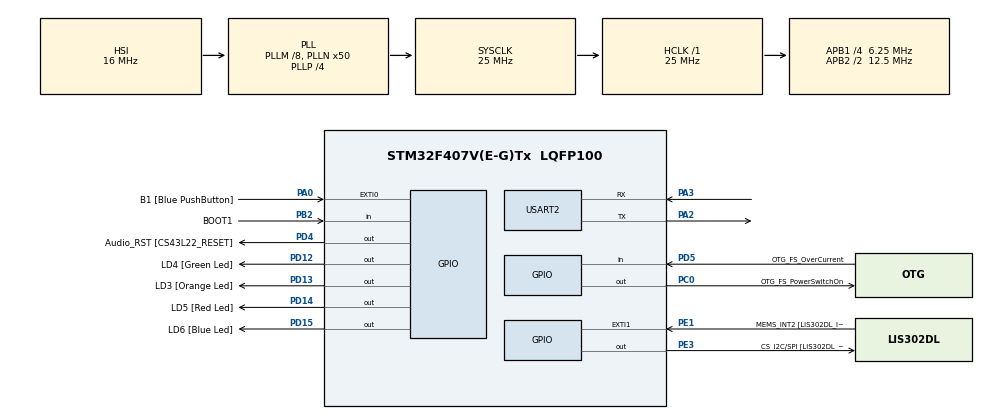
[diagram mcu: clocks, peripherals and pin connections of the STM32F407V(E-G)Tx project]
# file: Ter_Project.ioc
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Mcu.Family=STM32F4
Mcu.Name=STM32F407V(E-G)Tx
Mcu.Package=LQFP100
NVIC.PriorityGroup=NVIC_PRIORITYGROUP_0
PA0-WKUP.GPIO_Label=B1 [Blue PushButton]
PA0-WKUP.Signal=GPXTI0
PA10.GPIO_Label=OTG_FS_ID
PA10.GPIO_Mode=GPIO_MODE_AF_PP
PA10.GPIO_PuPd=GPIO_NOPULL
PA10.GPIO_Speed=GPIO_SPEED_FREQ_LOW
PA10.Signal=USB_OTG_FS_ID
PA11.GPIO_Label=OTG_FS_DM
PA11.GPIO_Mode=GPIO_MODE_AF_PP
PA11.GPIO_PuPd=GPIO_NOPULL
PA11.GPIO_Speed=GPIO_SPEED_FREQ_LOW
PA11.Signal=USB_OTG_FS_DM
PA12.GPIO_Label=OTG_FS_DP
PA12.GPIO_Mode=GPIO_MODE_AF_PP
PA12.GPIO_PuPd=GPIO_NOPULL
PA12.GPIO_Speed=GPIO_SPEED_FREQ_LOW
PA12.Signal=USB_OTG_FS_DP
PA13.GPIO_Label=SWDIO
PA13.Signal=SYS_JTMS-SWDIO
PA14.GPIO_Label=SWCLK
PA14.Signal=SYS_JTCK-SWCLK
PA2.Mode=Asynchronous
PA2.Signal=USART2_TX
PA3.Mode=Asynchronous
PA3.Signal=USART2_RX
PA4.GPIO_Label=I2S3_WS [CS43L22_LRCK]
PA4.GPIO_Mode=GPIO_MODE_AF_PP
PA4.GPIO_PuPd=GPIO_NOPULL
PA4.GPIO_Speed=GPIO_SPEED_FREQ_LOW
PA4.Signal=I2S3_WS
PA5.GPIO_Label=SPI1_SCK [LIS302DL_SCL/SPC]
PA5.GPIO_Mode=GPIO_MODE_AF_PP
PA5.GPIO_PuPd=GPIO_NOPULL
PA5.GPIO_Speed=GPIO_SPEED_FREQ_LOW
PA5.Signal=SPI1_SCK
PA6.GPIO_Label=SPI1_MISO [LIS302DL_SDO]
PA6.GPIO_Mode=GPIO_MODE_AF_PP
PA6.GPIO_PuPd=GPIO_NOPULL
PA6.GPIO_Speed=GPIO_SPEED_FREQ_LOW
PA6.Signal=SPI1_MISO
PA7.GPIO_Label=SPI1_MOSI [LIS302DL_SDA/SDI/SDO]
PA7.GPIO_Mode=GPIO_MODE_AF_PP
PA7.GPIO_PuPd=GPIO_NOPULL
PA7.GPIO_Speed=GPIO_SPEED_FREQ_LOW
PA7.Signal=SPI1_MOSI
PA9.GPIO_Label=VBUS_FS
PA9.GPIO_Mode=GPIO_MODE_INPUT
PA9.GPIO_PuPd=GPIO_NOPULL
PA9.Signal=USB_OTG_FS_VBUS
PB10.GPIO_Label=CLK_IN [MP45DT02_CLK]
PB10.GPIO_Mode=GPIO_MODE_AF_PP
PB10.GPIO_PuPd=GPIO_NOPULL
PB10.GPIO_Speed=GPIO_SPEED_FREQ_LOW
PB10.Signal=I2S2_CK
PB2.GPIO_Label=BOOT1
PB2.GPIO_Mode=GPIO_MODE_INPUT
PB2.GPIO_PuPd=GPIO_NOPULL
PB2.Signal=GPIO_Input
PB3.GPIO_Label=SWO
PB3.Signal=SYS_JTDO-SWO
PB6.GPIO_Label=Audio_SCL [CS43L22_SCL]
PB6.GPIO_Mode=GPIO_MODE_AF_OD
PB6.GPIO_PuPd=GPIO_NOPULL
PB6.GPIO_Speed=GPIO_SPEED_FREQ_LOW
PB6.Signal=I2C1_SCL
PB9.GPIO_Label=Audio_SDA [CS43L22_SDA]
PB9.GPIO_Mode=GPIO_MODE_AF_OD
PB9.GPIO_PuPd=GPIO_NOPULL
PB9.GPIO_Speed=GPIO_SPEED_FREQ_LOW
PB9.Signal=I2C1_SDA
PC0.GPIO_Label=OTG_FS_PowerSwitchOn
PC0.GPIO_PuPd=GPIO_NOPULL
PC0.GPIO_Speed=GPIO_SPEED_FREQ_LOW
PC0.PinState=GPIO_PIN_SET
PC0.Signal=GPIO_Output
PC10.GPIO_Label=I2S3_SCK [CS43L22_SCLK]
PC10.GPIO_Mode=GPIO_MODE_AF_PP
PC10.GPIO_PuPd=GPIO_NOPULL
PC10.GPIO_Speed=GPIO_SPEED_FREQ_LOW
PC10.Signal=I2S3_CK
PC12.GPIO_Label=I2S3_SD [CS43L22_SDIN]
PC12.GPIO_Mode=GPIO_MODE_AF_PP
PC12.GPIO_PuPd=GPIO_NOPULL
PC12.GPIO_Speed=GPIO_SPEED_FREQ_LOW
PC12.Signal=I2S3_SD
PC14-OSC32_IN.GPIO_Label=PC14-OSC32_IN
PC14-OSC32_IN.Signal=RCC_OSC32_IN
PC15-OSC32_OUT.GPIO_Label=PC15-OSC32_OUT
PC15-OSC32_OUT.Signal=RCC_OSC32_OUT
PC3.GPIO_Label=PDM_OUT [MP45DT02_DOUT]
PC3.GPIO_Mode=GPIO_MODE_AF_PP
PC3.GPIO_PuPd=GPIO_NOPULL
PC3.GPIO_Speed=GPIO_SPEED_FREQ_LOW
PC3.Signal=I2S2_SD
PC7.GPIO_Label=I2S3_MCK [CS43L22_MCLK]
PC7.GPIO_Mode=GPIO_MODE_AF_PP
PC7.GPIO_PuPd=GPIO_NOPULL
PC7.GPIO_Speed=GPIO_SPEED_FREQ_LOW
PC7.Signal=I2S3_MCK
PD12.GPIO_Label=LD4 [Green Led]
PD12.GPIO_PuPd=GPIO_NOPULL
PD12.GPIO_Speed=GPIO_SPEED_FREQ_LOW
PD12.Signal=GPIO_Output
PD13.GPIO_Label=LD3 [Orange Led]
PD13.GPIO_PuPd=GPIO_NOPULL
PD13.GPIO_Speed=GPIO_SPEED_FREQ_LOW
PD13.Signal=GPIO_Output
PD14.GPIO_Label=LD5 [Red Led]
PD14.GPIO_PuPd=GPIO_NOPULL
PD14.GPIO_Speed=GPIO_SPEED_FREQ_LOW
PD14.Signal=GPIO_Output
PD15.GPIO_Label=LD6 [Blue Led]
PD15.GPIO_PuPd=GPIO_NOPULL
PD15.GPIO_Speed=GPIO_SPEED_FREQ_LOW
PD15.Signal=GPIO_Output
PD4.GPIO_Label=Audio_RST [CS43L22_RESET]
PD4.GPIO_PuPd=GPIO_NOPULL
PD4.GPIO_Speed=GPIO_SPEED_FREQ_LOW
PD4.Signal=GPIO_Output
PD5.GPIO_Label=OTG_FS_OverCurrent
PD5.GPIO_Mode=GPIO_MODE_INPUT
PD5.GPIO_PuPd=GPIO_NOPULL
PD5.Signal=GPIO_Input
PE1.GPIO_Label=MEMS_INT2 [LIS302DL_INT2]
PE1.GPIO_ModeDefaultEXTI=GPIO_MODE_EVT_RISING
PE1.GPIO_PuPd=GPIO_NOPULL
PE1.Signal=GPXTI1
PE3.GPIO_Label=CS_I2C/SPI [LIS302DL_CS_I2C/SPI]
PE3.GPIO_PuPd=GPIO_NOPULL
PE3.GPIO_Speed=GPIO_SPEED_FREQ_LOW
PE3.Signal=GPIO_Output
PH0-OSC_IN.GPIO_Label=PH0-OSC_IN
PH0-OSC_IN.Signal=RCC_OSC_IN
PH1-OSC_OUT.GPIO_Label=PH1-OSC_OUT
PH1-OSC_OUT.Signal=RCC_OSC_OUT
ProjectManager.HeapSize=0x200
ProjectManager.StackSize=0x400
ProjectManager.TargetToolchain=SW4STM32
RCC.48MHZClocksFreq_Value=14285714.285714285
RCC.AHBFreq_Value=25000000
RCC.APB1CLKDivider=RCC_HCLK_DIV4
RCC.APB1Freq_Value=6250000
RCC.APB1TimFreq_Value=12500000
RCC.APB2CLKDivider=RCC_HCLK_DIV2
RCC.APB2Freq_Value=12500000
RCC.APB2TimFreq_Value=25000000
RCC.CortexFreq_Value=25000000
RCC.HCLKFreq_Value=25000000
RCC.HSE_VALUE=8000000
RCC.HSI_VALUE=16000000
RCC.LSE_VALUE=32768
RCC.PLLM=8
RCC.PLLN=50
RCC.PLLP=RCC_PLLP_DIV4
RCC.PLLQ=7
RCC.SYSCLKFreq_VALUE=25000000
RCC.SYSCLKSource=RCC_SYSCLKSOURCE_PLLCLK
RCC.VCOOutputFreq_Value=100000000
USART2.VirtualMode=VM_ASYNC
board=STM32F4DISCOVERY

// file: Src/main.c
/**
  ******************************************************************************
  * File Name          : main.c
  * Description        : Main program body
  ******************************************************************************
  ** This notice applies to any and all portions of this file
  * that are not between comment pairs USER CODE BEGIN and
  * USER CODE END. Other portions of this file, whether
  * inserted by the user or by software development tools
  * are owned by their respective copyright owners.
  *
  * COPYRIGHT(c) 2017 STMicroelectronics
  *
  * Redistribution and use in source and binary forms, with or without modification,
  * are permitted provided that the following conditions are met:
  *   1. Redistributions of source code must retain the above copyright notice,
  *      this list of conditions and the following disclaimer.
  *   2. Redistributions in binary form must reproduce the above copyright notice,
  *      this list of conditions and the following disclaimer in the documentation
  *      and/or other materials provided with the distribution.
  *   3. Neither the name of STMicroelectronics nor the names of its contributors
  *      may be used to endorse or promote products derived from this software
  *      without specific prior written permission.
  *
  * THIS SOFTWARE IS PROVIDED BY THE COPYRIGHT HOLDERS AND CONTRIBUTORS "AS IS"
  * AND ANY EXPRESS OR IMPLIED WARRANTIES, INCLUDING, BUT NOT LIMITED TO, THE
  * IMPLIED WARRANTIES OF MERCHANTABILITY AND FITNESS FOR A PARTICULAR PURPOSE ARE
  * DISCLAIMED. IN NO EVENT SHALL THE COPYRIGHT HOLDER OR CONTRIBUTORS BE LIABLE
  * FOR ANY DIRECT, INDIRECT, INCIDENTAL, SPECIAL, EXEMPLARY, OR CONSEQUENTIAL
  * DAMAGES (INCLUDING, BUT NOT LIMITED TO, PROCUREMENT OF SUBSTITUTE GOODS OR
  * SERVICES; LOSS OF USE, DATA, OR PROFITS; OR BUSINESS INTERRUPTION) HOWEVER
  * CAUSED AND ON ANY THEORY OF LIABILITY, WHETHER IN CONTRACT, STRICT LIABILITY,
  * OR TORT (INCLUDING NEGLIGENCE OR OTHERWISE) ARISING IN ANY WAY OUT OF THE USE
  * OF THIS SOFTWARE, EVEN IF ADVISED OF THE POSSIBILITY OF SUCH DAMAGE.
  *
  ******************************************************************************
  */

#include "main.h"
#include "stm32f4xx_hal.h"

UART_HandleTypeDef huart2;

/* USER CODE BEGIN PV */
/* Private variables ---------------------------------------------------------*/

/* USER CODE END PV */

void SystemClock_Config(void);
static void MX_GPIO_Init(void);
static void MX_USART2_UART_Init(void);

/* USER CODE BEGIN PFP */
/* Private function prototypes -----------------------------------------------*/

/* USER CODE END PFP */

/* USER CODE BEGIN 0 */

typedef struct _hx711
{
	GPIO_TypeDef* gpioSck;
	GPIO_TypeDef* gpioData;
	uint16_t pinSck;
	uint16_t pinData;
	int offset;
	int gain;
	// 1: channel A, gain factor 128
	// 2: channel B, gain factor 32
    // 3: channel A, gain factor 64
} HX711;

void HX711_Init(HX711 data)
{
	GPIO_InitTypeDef GPIO_InitStruct;
	GPIO_InitStruct.Pin = data.pinSck;
	GPIO_InitStruct.Mode = GPIO_MODE_OUTPUT_PP;
	GPIO_InitStruct.Pull = GPIO_NOPULL;
	GPIO_InitStruct.Speed = GPIO_SPEED_FREQ_LOW;
	HAL_GPIO_Init(data.gpioSck, &GPIO_InitStruct);

	GPIO_InitStruct.Pin = data.pinData;
	GPIO_InitStruct.Mode = GPIO_MODE_INPUT;
	GPIO_InitStruct.Pull = GPIO_PULLUP;
	GPIO_InitStruct.Speed = GPIO_SPEED_FREQ_LOW;
	HAL_GPIO_Init(data.gpioData, &GPIO_InitStruct);

	HAL_GPIO_WritePin(data.gpioSck, data.pinSck, GPIO_PIN_SET);
	HAL_Delay(50);
	HAL_GPIO_WritePin(data.gpioData, data.pinSck, GPIO_PIN_RESET);

}

int HX711_Average_Value(HX711 data, uint8_t times)
{
    int sum = 0;
    for (int i = 0; i < times; i++)
    {
        sum += HX711_Value(data);
    }

    return sum / times;
}

int HX711_Value(HX711 data)
{
    int buffer;
    buffer = 0;

    while (HAL_GPIO_ReadPin(data.gpioData, data.pinData)==1)
    ;

    for (uint8_t i = 0; i < 24; i++)
    {
    	HAL_GPIO_WritePin(data.gpioSck, data.pinSck, GPIO_PIN_SET);

        buffer = buffer << 1 ;

        if (HAL_GPIO_ReadPin(data.gpioData, data.pinData))
        {
            buffer ++;
        }

        HAL_GPIO_WritePin(data.gpioSck, data.pinSck, GPIO_PIN_RESET);
    }

    for (int i = 0; i < data.gain; i++)
    {
    	HAL_GPIO_WritePin(data.gpioSck, data.pinSck, GPIO_PIN_SET);
    	HAL_GPIO_WritePin(data.gpioSck, data.pinSck, GPIO_PIN_RESET);
    }

    buffer = buffer ^ 0x800000;

    return buffer;
}

HX711 HX711_Tare(HX711 data, uint8_t times)
{
    int sum = HX711_Average_Value(data, times);
    data.offset = sum;
    return data;
}

/* USER CODE END 0 */

int main(void)
{

  /* MCU Configuration----------------------------------------------------------*/

  /* Reset of all peripherals, Initializes the Flash interface and the Systick. */
  HAL_Init();

  /* Configure the system clock */
  SystemClock_Config();

  /* Initialize all configured peripherals */
  MX_GPIO_Init();
  MX_USART2_UART_Init();

  /* USER CODE BEGIN 2 */
  HX711 data;
  data.gpioData = GPIOD;
  data.gpioSck = GPIOD;
  data.pinData = GPIO_PIN_9;
  data.pinSck = GPIO_PIN_8;
  data.gain = 1;
  HX711_Init(data);
  data = HX711_Tare(data,2000);

  int buffer;
  char buffer2[32];
  int w;
  /* USER CODE END 2 */

  /* Infinite loop */
  while (1)
  {

  /* USER CODE BEGIN 3 */
	  buffer = HX711_Value(data)-data.offset;
	  w = buffer/170;
	  char output[256];
	  memset(output,0,256);
	  memset(buffer2,0,32);
	  sprintf(output,"%da", w);
	  HAL_UART_Transmit(&huart2, output, sizeof(output), 100);

	  if(HAL_UART_Receive(&huart2, buffer2, 1,1000) == HAL_OK){
		  if(buffer2[0] == '1'){
			  HAL_GPIO_WritePin(GPIOD, GPIO_PIN_12, 1);
		  }
		  else if(buffer2[0] == '2'){
			  HAL_GPIO_WritePin(GPIOD, GPIO_PIN_12, 1);
			  HAL_GPIO_WritePin(GPIOD, GPIO_PIN_13, 1);
		  }
		  else if(buffer2[0] == '3'){
			  HAL_GPIO_WritePin(GPIOD, GPIO_PIN_12, 1);
			  HAL_GPIO_WritePin(GPIOD, GPIO_PIN_13, 1);
			  HAL_GPIO_WritePin(GPIOD, GPIO_PIN_14, 1);
		  }
		  else if(buffer2[0] == '4'){
			  HAL_GPIO_WritePin(GPIOD, GPIO_PIN_12, 1);
			  HAL_GPIO_WritePin(GPIOD, GPIO_PIN_13, 1);
			  HAL_GPIO_WritePin(GPIOD, GPIO_PIN_14, 1);
			  HAL_GPIO_WritePin(GPIOD, GPIO_PIN_15, 1);
		  }
		  HAL_Delay(5000);
		  HAL_GPIO_WritePin(GPIOD, GPIO_PIN_12, 0);
		  HAL_GPIO_WritePin(GPIOD, GPIO_PIN_13, 0);
		  HAL_GPIO_WritePin(GPIOD, GPIO_PIN_14, 0);
		  HAL_GPIO_WritePin(GPIOD, GPIO_PIN_15, 0);
	  }
	  HAL_Delay(1500);

  }
  /* USER CODE END 3 */

}

/** System Clock Configuration
*/
void SystemClock_Config(void)
{

  RCC_OscInitTypeDef RCC_OscInitStruct;
  RCC_ClkInitTypeDef RCC_ClkInitStruct;

    /**Configure the main internal regulator output voltage
    */
  __HAL_RCC_PWR_CLK_ENABLE();

  __HAL_PWR_VOLTAGESCALING_CONFIG(PWR_REGULATOR_VOLTAGE_SCALE1);

    /**Initializes the CPU, AHB and APB busses clocks
    */
  RCC_OscInitStruct.OscillatorType = RCC_OSCILLATORTYPE_HSI;
  RCC_OscInitStruct.HSIState = RCC_HSI_ON;
  RCC_OscInitStruct.HSICalibrationValue = 16;
  RCC_OscInitStruct.PLL.PLLState = RCC_PLL_ON;
  RCC_OscInitStruct.PLL.PLLSource = RCC_PLLSOURCE_HSI;
  RCC_OscInitStruct.PLL.PLLM = 8;
  RCC_OscInitStruct.PLL.PLLN = 50;
  RCC_OscInitStruct.PLL.PLLP = RCC_PLLP_DIV4;
  RCC_OscInitStruct.PLL.PLLQ = 7;
  if (HAL_RCC_OscConfig(&RCC_OscInitStruct) != HAL_OK)
  {
    _Error_Handler(__FILE__, __LINE__);
  }

    /**Initializes the CPU, AHB and APB busses clocks
    */
  RCC_ClkInitStruct.ClockType = RCC_CLOCKTYPE_HCLK|RCC_CLOCKTYPE_SYSCLK
                              |RCC_CLOCKTYPE_PCLK1|RCC_CLOCKTYPE_PCLK2;
  RCC_ClkInitStruct.SYSCLKSource = RCC_SYSCLKSOURCE_PLLCLK;
  RCC_ClkInitStruct.AHBCLKDivider = RCC_SYSCLK_DIV1;
  RCC_ClkInitStruct.APB1CLKDivider = RCC_HCLK_DIV4;
  RCC_ClkInitStruct.APB2CLKDivider = RCC_HCLK_DIV2;

  if (HAL_RCC_ClockConfig(&RCC_ClkInitStruct, FLASH_LATENCY_0) != HAL_OK)
  {
    _Error_Handler(__FILE__, __LINE__);
  }

    /**Configure the Systick interrupt time
    */
  HAL_SYSTICK_Config(HAL_RCC_GetHCLKFreq()/1000);

    /**Configure the Systick
    */
  HAL_SYSTICK_CLKSourceConfig(SYSTICK_CLKSOURCE_HCLK);

  /* SysTick_IRQn interrupt configuration */
  HAL_NVIC_SetPriority(SysTick_IRQn, 0, 0);
}

/* USART2 init function */
static void MX_USART2_UART_Init(void)
{

  huart2.Instance = USART2;
  huart2.Init.BaudRate = 115200;
  huart2.Init.WordLength = UART_WORDLENGTH_8B;
  huart2.Init.StopBits = UART_STOPBITS_1;
  huart2.Init.Parity = UART_PARITY_NONE;
  huart2.Init.Mode = UART_MODE_TX_RX;
  huart2.Init.HwFlowCtl = UART_HWCONTROL_NONE;
  huart2.Init.OverSampling = UART_OVERSAMPLING_16;
  if (HAL_UART_Init(&huart2) != HAL_OK)
  {
    _Error_Handler(__FILE__, __LINE__);
  }

}

/** Configure pins as
        * Analog
        * Input
        * Output
        * EVENT_OUT
        * EXTI
     PC3   ------> I2S2_SD
     PA4   ------> I2S3_WS
     PA5   ------> SPI1_SCK
     PA6   ------> SPI1_MISO
     PA7   ------> SPI1_MOSI
     PB10   ------> I2S2_CK
     PC7   ------> I2S3_MCK
     PA9   ------> USB_OTG_FS_VBUS
     PA10   ------> USB_OTG_FS_ID
     PA11   ------> USB_OTG_FS_DM
     PA12   ------> USB_OTG_FS_DP
     PC10   ------> I2S3_CK
     PC12   ------> I2S3_SD
     PB6   ------> I2C1_SCL
     PB9   ------> I2C1_SDA
*/
static void MX_GPIO_Init(void)
{

  GPIO_InitTypeDef GPIO_InitStruct;

  /* GPIO Ports Clock Enable */
  __HAL_RCC_GPIOE_CLK_ENABLE();
  __HAL_RCC_GPIOC_CLK_ENABLE();
  __HAL_RCC_GPIOH_CLK_ENABLE();
  __HAL_RCC_GPIOA_CLK_ENABLE();
  __HAL_RCC_GPIOB_CLK_ENABLE();
  __HAL_RCC_GPIOD_CLK_ENABLE();

  /*Configure GPIO pin Output Level */
  HAL_GPIO_WritePin(CS_I2C_SPI_GPIO_Port, CS_I2C_SPI_Pin, GPIO_PIN_RESET);

  /*Configure GPIO pin Output Level */
  HAL_GPIO_WritePin(OTG_FS_PowerSwitchOn_GPIO_Port, OTG_FS_PowerSwitchOn_Pin, GPIO_PIN_SET);

  /*Configure GPIO pin Output Level */
  HAL_GPIO_WritePin(GPIOD, LD4_Pin|LD3_Pin|LD5_Pin|LD6_Pin
                          |Audio_RST_Pin, GPIO_PIN_RESET);

  /*Configure GPIO pin : CS_I2C_SPI_Pin */
  GPIO_InitStruct.Pin = CS_I2C_SPI_Pin;
  GPIO_InitStruct.Mode = GPIO_MODE_OUTPUT_PP;
  GPIO_InitStruct.Pull = GPIO_NOPULL;
  GPIO_InitStruct.Speed = GPIO_SPEED_FREQ_LOW;
  HAL_GPIO_Init(CS_I2C_SPI_GPIO_Port, &GPIO_InitStruct);

  /*Configure GPIO pin : OTG_FS_PowerSwitchOn_Pin */
  GPIO_InitStruct.Pin = OTG_FS_PowerSwitchOn_Pin;
  GPIO_InitStruct.Mode = GPIO_MODE_OUTPUT_PP;
  GPIO_InitStruct.Pull = GPIO_NOPULL;
  GPIO_InitStruct.Speed = GPIO_SPEED_FREQ_LOW;
  HAL_GPIO_Init(OTG_FS_PowerSwitchOn_GPIO_Port, &GPIO_InitStruct);

  /*Configure GPIO pin : PDM_OUT_Pin */
  GPIO_InitStruct.Pin = PDM_OUT_Pin;
  GPIO_InitStruct.Mode = GPIO_MODE_AF_PP;
  GPIO_InitStruct.Pull = GPIO_NOPULL;
  GPIO_InitStruct.Speed = GPIO_SPEED_FREQ_LOW;
  GPIO_InitStruct.Alternate = GPIO_AF5_SPI2;
  HAL_GPIO_Init(PDM_OUT_GPIO_Port, &GPIO_InitStruct);

  /*Configure GPIO pin : B1_Pin */
  GPIO_InitStruct.Pin = B1_Pin;
  GPIO_InitStruct.Mode = GPIO_MODE_IT_RISING;
  GPIO_InitStruct.Pull = GPIO_NOPULL;
  HAL_GPIO_Init(B1_GPIO_Port, &GPIO_InitStruct);

  /*Configure GPIO pin : I2S3_WS_Pin */
  GPIO_InitStruct.Pin = I2S3_WS_Pin;
  GPIO_InitStruct.Mode = GPIO_MODE_AF_PP;
  GPIO_InitStruct.Pull = GPIO_NOPULL;
  GPIO_InitStruct.Speed = GPIO_SPEED_FREQ_LOW;
  GPIO_InitStruct.Alternate = GPIO_AF6_SPI3;
  HAL_GPIO_Init(I2S3_WS_GPIO_Port, &GPIO_InitStruct);

  /*Configure GPIO pins : SPI1_SCK_Pin SPI1_MISO_Pin SPI1_MOSI_Pin */
  GPIO_InitStruct.Pin = SPI1_SCK_Pin|SPI1_MISO_Pin|SPI1_MOSI_Pin;
  GPIO_InitStruct.Mode = GPIO_MODE_AF_PP;
  GPIO_InitStruct.Pull = GPIO_NOPULL;
  GPIO_InitStruct.Speed = GPIO_SPEED_FREQ_LOW;
  GPIO_InitStruct.Alternate = GPIO_AF5_SPI1;
  HAL_GPIO_Init(GPIOA, &GPIO_InitStruct);

  /*Configure GPIO pin : BOOT1_Pin */
  GPIO_InitStruct.Pin = BOOT1_Pin;
  GPIO_InitStruct.Mode = GPIO_MODE_INPUT;
  GPIO_InitStruct.Pull = GPIO_NOPULL;
  HAL_GPIO_Init(BOOT1_GPIO_Port, &GPIO_InitStruct);

  /*Configure GPIO pin : CLK_IN_Pin */
  GPIO_InitStruct.Pin = CLK_IN_Pin;
  GPIO_InitStruct.Mode = GPIO_MODE_AF_PP;
  GPIO_InitStruct.Pull = GPIO_NOPULL;
  GPIO_InitStruct.Speed = GPIO_SPEED_FREQ_LOW;
  GPIO_InitStruct.Alternate = GPIO_AF5_SPI2;
  HAL_GPIO_Init(CLK_IN_GPIO_Port, &GPIO_InitStruct);

  /*Configure GPIO pins : LD4_Pin LD3_Pin LD5_Pin LD6_Pin
                           Audio_RST_Pin */
  GPIO_InitStruct.Pin = LD4_Pin|LD3_Pin|LD5_Pin|LD6_Pin
                          |Audio_RST_Pin;
  GPIO_InitStruct.Mode = GPIO_MODE_OUTPUT_PP;
  GPIO_InitStruct.Pull = GPIO_NOPULL;
  GPIO_InitStruct.Speed = GPIO_SPEED_FREQ_LOW;
  HAL_GPIO_Init(GPIOD, &GPIO_InitStruct);

  /*Configure GPIO pins : I2S3_MCK_Pin I2S3_SCK_Pin I2S3_SD_Pin */
  GPIO_InitStruct.Pin = I2S3_MCK_Pin|I2S3_SCK_Pin|I2S3_SD_Pin;
  GPIO_InitStruct.Mode = GPIO_MODE_AF_PP;
  GPIO_InitStruct.Pull = GPIO_NOPULL;
  GPIO_InitStruct.Speed = GPIO_SPEED_FREQ_LOW;
  GPIO_InitStruct.Alternate = GPIO_AF6_SPI3;
  HAL_GPIO_Init(GPIOC, &GPIO_InitStruct);

  /*Configure GPIO pin : VBUS_FS_Pin */
  GPIO_InitStruct.Pin = VBUS_FS_Pin;
  GPIO_InitStruct.Mode = GPIO_MODE_INPUT;
  GPIO_InitStruct.Pull = GPIO_NOPULL;
  HAL_GPIO_Init(VBUS_FS_GPIO_Port, &GPIO_InitStruct);

  /*Configure GPIO pins : OTG_FS_ID_Pin OTG_FS_DM_Pin OTG_FS_DP_Pin */
  GPIO_InitStruct.Pin = OTG_FS_ID_Pin|OTG_FS_DM_Pin|OTG_FS_DP_Pin;
  GPIO_InitStruct.Mode = GPIO_MODE_AF_PP;
  GPIO_InitStruct.Pull = GPIO_NOPULL;
  GPIO_InitStruct.Speed = GPIO_SPEED_FREQ_LOW;
  GPIO_InitStruct.Alternate = GPIO_AF10_OTG_FS;
  HAL_GPIO_Init(GPIOA, &GPIO_InitStruct);

  /*Configure GPIO pin : OTG_FS_OverCurrent_Pin */
  GPIO_InitStruct.Pin = OTG_FS_OverCurrent_Pin;
  GPIO_InitStruct.Mode = GPIO_MODE_INPUT;
  GPIO_InitStruct.Pull = GPIO_NOPULL;
  HAL_GPIO_Init(OTG_FS_OverCurrent_GPIO_Port, &GPIO_InitStruct);

  /*Configure GPIO pins : Audio_SCL_Pin Audio_SDA_Pin */
  GPIO_InitStruct.Pin = Audio_SCL_Pin|Audio_SDA_Pin;
  GPIO_InitStruct.Mode = GPIO_MODE_AF_OD;
  GPIO_InitStruct.Pull = GPIO_PULLUP;
  GPIO_InitStruct.Speed = GPIO_SPEED_FREQ_LOW;
  GPIO_InitStruct.Alternate = GPIO_AF4_I2C1;
  HAL_GPIO_Init(GPIOB, &GPIO_InitStruct);

  /*Configure GPIO pin : MEMS_INT2_Pin */
  GPIO_InitStruct.Pin = MEMS_INT2_Pin;
  GPIO_InitStruct.Mode = GPIO_MODE_EVT_RISING;
  GPIO_InitStruct.Pull = GPIO_NOPULL;
  HAL_GPIO_Init(MEMS_INT2_GPIO_Port, &GPIO_InitStruct);

}

void _Error_Handler(char * file, int line)
{
  while(1)
  {
  }
}

/************************ (C) COPYRIGHT STMicroelectronics *****END OF FILE****/
